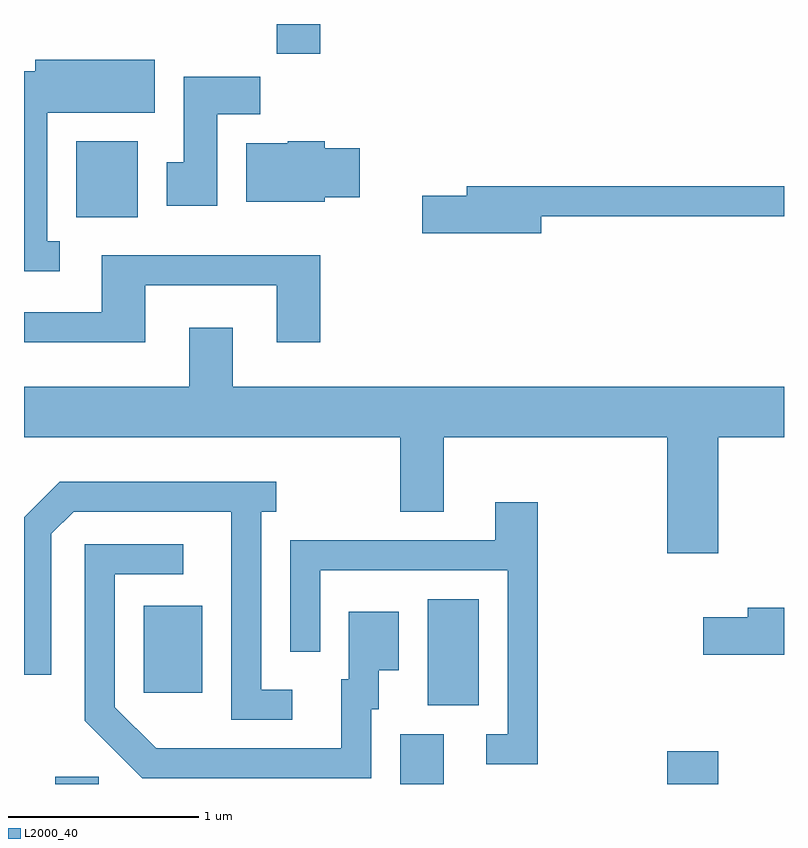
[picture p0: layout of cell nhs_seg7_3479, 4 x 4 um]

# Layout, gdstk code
import gdstk
lib = gdstk.Library(unit=1e-6, precision=1e-09)
def R(c, l, rs):  # rectangles x0, y0, x1, y1
    for r in rs: c.add(gdstk.rectangle(r[:2], r[2:], *l))
def P(c, l, *ps):  # polygons
    for p in ps: c.add(gdstk.Polygon(p, *l))
L2000_40 = (2000, 40)

nhs_seg7_3479 = lib.new_cell('nhs_seg7_3479')
R(nhs_seg7_3479, L2000_40, [(291.776,1730.252,292.004,1730.289), (293.591,1730.252,293.819,1730.514), (294.996,1730.252,295.264,1730.424), (293.736,1730.666,294.004,1731.224), (292.241,1730.731,292.549,1731.189), (291.886,1733.236,292.209,1733.634), (292.941,1734.096,293.169,1734.252)])
P(nhs_seg7_3479, L2000_40, [(291.798,1733.109),(291.734,1733.109),(291.734,1733.786),(292.299,1733.786),(292.299,1734.064),(291.671,1734.064),(291.671,1734.004),(291.611,1734.004),(291.611,1732.951),(291.798,1732.951)],
  [(292.629,1733.776),(292.854,1733.776),(292.854,1733.974),(292.451,1733.974),(292.451,1733.524),(292.361,1733.524),(292.361,1733.296),(292.629,1733.296)],
  [(293.194,1733.341),(293.379,1733.341),(293.379,1733.599),(293.194,1733.599),(293.194,1733.634),(293,1733.634),(293,1733.624),(292.781,1733.624),(292.781,1733.316),(293.194,1733.316)],
  [(294.334,1733.241),(295.611,1733.241),(295.611,1733.399),(293.941,1733.399),(293.941,1733.349),(293.706,1733.349),(293.706,1733.151),(294.334,1733.151)],
  [(292.249,1732.876),(292.941,1732.876),(292.941,1732.576),(293.169,1732.576),(293.169,1733.034),(292.021,1733.034),(292.021,1732.734),(291.611,1732.734),(291.611,1732.576),(292.249,1732.576)],
  [(295.264,1732.076),(295.611,1732.076),(295.611,1732.344),(292.709,1732.344),(292.709,1732.654),(292.481,1732.654),(292.481,1732.344),(291.611,1732.344),(291.611,1732.076),(293.591,1732.076),(293.591,1731.686),(293.819,1731.686),(293.819,1732.076),(294.996,1732.076),(294.996,1731.466),(295.264,1731.466)],
  [(293.023,1730.749),(292.859,1730.749),(292.859,1731.686),(292.938,1731.686),(292.938,1731.844),(291.799,1731.844),(291.611,1731.657),(291.611,1730.828),(291.754,1730.828),(291.754,1731.569),(291.872,1731.686),(292.701,1731.686),(292.701,1730.591),(293.023,1730.591)],
  [(294.314,1731.734),(294.091,1731.734),(294.091,1731.534),(293.011,1731.534),(293.011,1730.948),(293.169,1730.948),(293.169,1731.376),(294.156,1731.376),(294.156,1730.514),(294.043,1730.514),(294.043,1730.356),(294.314,1730.356)],
  [(293.439,1730.646),(293.479,1730.646),(293.479,1730.851),(293.584,1730.851),(293.584,1731.159),(293.321,1731.159),(293.321,1730.804),(293.281,1730.804),(293.281,1730.439),(292.307,1730.439),(292.089,1730.657),(292.089,1731.356),(292.448,1731.356),(292.448,1731.514),(291.931,1731.514),(291.931,1730.584),(292.234,1730.281),(293.439,1730.281)],
  [(295.611,1731.179),(295.421,1731.179),(295.421,1731.129),(295.186,1731.129),(295.186,1730.931),(295.611,1730.931)])

lib.write_gds('nhs_seg7_3479.gds')
